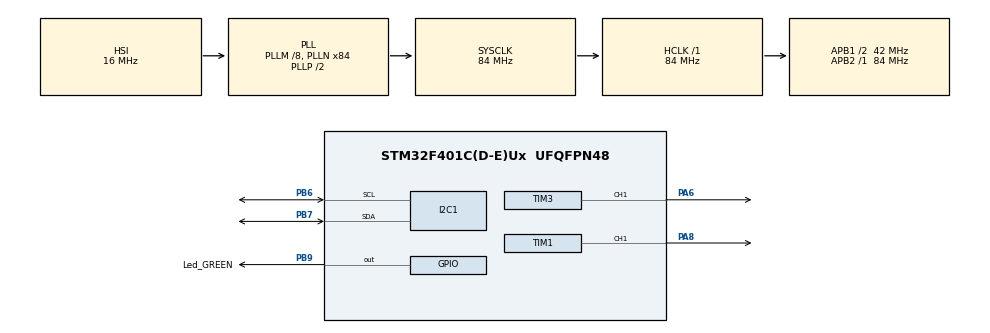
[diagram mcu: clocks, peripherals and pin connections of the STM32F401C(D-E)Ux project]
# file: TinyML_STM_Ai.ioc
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I2C1.I2C_Mode=I2C_Fast
Mcu.Family=STM32F4
Mcu.Name=STM32F401C(D-E)Ux
Mcu.Package=UFQFPN48
NVIC.PriorityGroup=NVIC_PRIORITYGROUP_4
NVIC.TIM1_BRK_TIM9_IRQn=true\:0\:0\:false\:false\:true\:true\:true\:true
NVIC.TIM1_CC_IRQn=true\:0\:0\:false\:false\:true\:true\:true\:true
NVIC.TIM1_TRG_COM_TIM11_IRQn=true\:0\:0\:false\:false\:true\:true\:true\:true
NVIC.TIM1_UP_TIM10_IRQn=true\:0\:0\:false\:false\:true\:true\:true\:true
PA13.Mode=Serial_Wire
PA13.Signal=SYS_JTMS-SWDIO
PA14.Mode=Serial_Wire
PA14.Signal=SYS_JTCK-SWCLK
PA6.GPIO_ModeDefaultPP=GPIO_MODE_AF_PP
PA6.GPIO_PuPd=GPIO_NOPULL
PA6.Signal=S_TIM3_CH1
PA8.Signal=S_TIM1_CH1
PB6.Mode=I2C
PB6.Signal=I2C1_SCL
PB7.Mode=I2C
PB7.Signal=I2C1_SDA
PB9.GPIO_Label=Led_GREEN
PB9.GPIO_ModeDefaultOutputPP=GPIO_MODE_OUTPUT_PP
PB9.Signal=GPIO_Output
PH0\ -\ OSC_IN.Mode=HSE-External-Oscillator
PH0\ -\ OSC_IN.Signal=RCC_OSC_IN
PH1\ -\ OSC_OUT.Mode=HSE-External-Oscillator
PH1\ -\ OSC_OUT.Signal=RCC_OSC_OUT
ProjectManager.HeapSize=0x800
ProjectManager.StackSize=0x800
ProjectManager.TargetToolchain=STM32CubeIDE
RCC.48MHZClocksFreq_Value=42000000
RCC.AHBFreq_Value=84000000
RCC.APB1CLKDivider=RCC_HCLK_DIV2
RCC.APB1Freq_Value=42000000
RCC.APB1TimFreq_Value=84000000
RCC.APB2Freq_Value=84000000
RCC.APB2TimFreq_Value=84000000
RCC.CortexFreq_Value=84000000
RCC.HCLKFreq_Value=84000000
RCC.HSE_VALUE=25000000
RCC.HSI_VALUE=16000000
RCC.LSE_VALUE=32768
RCC.PLLM=8
RCC.PLLN=84
RCC.SYSCLKFreq_VALUE=84000000
RCC.SYSCLKSource=RCC_SYSCLKSOURCE_PLLCLK
RCC.VCOOutputFreq_Value=168000000
SH.S_TIM1_CH1.0=TIM1_CH1,PWM Generation1 CH1
SH.S_TIM3_CH1.0=TIM3_CH1,PWM Generation1 CH1
STMicroelectronics.X-CUBE-AI.10.2.0.ActivationBufferSizeList=2264
STMicroelectronics.X-CUBE-AI.10.2.0.ActivationBuffers=pool0
STMicroelectronics.X-CUBE-AI.10.2.0.ActivationNames=pool0
STMicroelectronics.X-CUBE-AI.10.2.0.ActivationSizes=AI_SINE_MODEL_OWN_DATA_ACTIVATION_1_SIZE
STMicroelectronics.X-CUBE-AI.10.2.0.HeapSize=0x800
STMicroelectronics.X-CUBE-AI.10.2.0.InternalRamActivationBufferMaxSize=AI_SINE_MODEL_OWN_DATA_ACTIVATIONS_SIZE
STMicroelectronics.X-CUBE-AI.10.2.0.LatestDirectoryUsed-19e0198becab38a640acdebe623655421296ad438e8c394f98320da885acce7a=C\:\\Users\\21syl\\Downloads
STMicroelectronics.X-CUBE-AI.10.2.0.MaximumNumberOfInputLayer=1
STMicroelectronics.X-CUBE-AI.10.2.0.MaximumNumberOfOutputLayer=1
STMicroelectronics.X-CUBE-AI.10.2.0.MaximumSizeOfInputLayer=1
STMicroelectronics.X-CUBE-AI.10.2.0.MaximumSizeOfOutputLayer=1
STMicroelectronics.X-CUBE-AI.10.2.0.ModelActualCompression-19e0198becab38a640acdebe623655421296ad438e8c394f98320da885acce7a=0.0
STMicroelectronics.X-CUBE-AI.10.2.0.ModelCompression-19e0198becab38a640acdebe623655421296ad438e8c394f98320da885acce7a=None
STMicroelectronics.X-CUBE-AI.10.2.0.ModelFlashOccupation-19e0198becab38a640acdebe623655421296ad438e8c394f98320da885acce7a=21853
STMicroelectronics.X-CUBE-AI.10.2.0.ModelHashList=19e0198becab38a640acdebe623655421296ad438e8c394f98320da885acce7a
STMicroelectronics.X-CUBE-AI.10.2.0.ModelKind-19e0198becab38a640acdebe623655421296ad438e8c394f98320da885acce7a=TFLITE
STMicroelectronics.X-CUBE-AI.10.2.0.ModelMacc-19e0198becab38a640acdebe623655421296ad438e8c394f98320da885acce7a=325
STMicroelectronics.X-CUBE-AI.10.2.0.ModelName-19e0198becab38a640acdebe623655421296ad438e8c394f98320da885acce7a=sine_model_own
STMicroelectronics.X-CUBE-AI.10.2.0.ModelNameList=sine_model_own
STMicroelectronics.X-CUBE-AI.10.2.0.ModelRamOccupation-19e0198becab38a640acdebe623655421296ad438e8c394f98320da885acce7a=2264
STMicroelectronics.X-CUBE-AI.10.2.0.ModelStructureFile-19e0198becab38a640acdebe623655421296ad438e8c394f98320da885acce7a=C\:\\Users\\21syl\\Downloads\\sine_model_quantized (1).tflite
STMicroelectronics.X-CUBE-AI.10.2.0.ModelType-19e0198becab38a640acdebe623655421296ad438e8c394f98320da885acce7a=STM32Cube.AI MCU runtime
STMicroelectronics.X-CUBE-AI.10.2.0.ReadyForCodeGeneration=true
STMicroelectronics.X-CUBE-AI.10.2.0.StackSize=0x800
STMicroelectronics.X-CUBE-AI.10.2.0.WorkingBufferStartAddrList=0xFFFFFFFF
STMicroelectronics.X-CUBE-AI.10.2.0.XAaCUBEAaAICcArtificialOoIntelligenceJjCore=true
STMicroelectronics.X-CUBE-AI.10.2.0.copyWeightToRam-19e0198becab38a640acdebe623655421296ad438e8c394f98320da885acce7a=false
STMicroelectronics.X-CUBE-AI.10.2.0.customLayerConfigEnabled-19e0198becab38a640acdebe623655421296ad438e8c394f98320da885acce7a=false
STMicroelectronics.X-CUBE-AI.10.2.0.noOnnxIoTranspose-19e0198becab38a640acdebe623655421296ad438e8c394f98320da885acce7a=false
STMicroelectronics.X-CUBE-AI.10.2.0.useInputAllocation-19e0198becab38a640acdebe623655421296ad438e8c394f98320da885acce7a=true
STMicroelectronics.X-CUBE-AI.10.2.0.useOutputAllocation-19e0198becab38a640acdebe623655421296ad438e8c394f98320da885acce7a=true
TIM1.AutoReloadPreload=TIM_AUTORELOAD_PRELOAD_ENABLE
TIM1.Channel-PWM\ Generation1\ CH1=TIM_CHANNEL_1
TIM1.OCMode_PWM-PWM\ Generation1\ CH1=TIM_OCMODE_PWM2
TIM1.Period=33601
TIM1.Prescaler=49
TIM11.AutoReloadPreload=TIM_AUTORELOAD_PRELOAD_ENABLE
TIM11.Period=0xffff-1
TIM11.Prescaler=83
TIM3.AutoReloadPreload=TIM_AUTORELOAD_PRELOAD_ENABLE
TIM3.Channel-PWM\ Generation1\ CH1=TIM_CHANNEL_1
TIM3.OCMode_PWM-PWM\ Generation1\ CH1=TIM_OCMODE_PWM2
TIM3.Period=999
TIM3.Prescaler=83
VP_CRC_VS_CRC.Mode=CRC_Activate
VP_STMicroelectronics.X-CUBE-AI_VS_ArtificialOoIntelligenceJjXAaCUBEAaAI_10.2.0.Mode=ArtificialOoIntelligenceJjXAaCUBEAaAI
VP_TIM11_VS_ClockSourceINT.Mode=Enable_Timer
VP_TIM1_VS_ClockSourceINT.Mode=Internal
VP_TIM3_VS_ClockSourceINT.Mode=Internal
board=custom

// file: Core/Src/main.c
/* USER CODE BEGIN Header */
/**
  ******************************************************************************
  * @file           : main.c
  * @brief          : Main program body
  ******************************************************************************
  * @attention
  *
  * Copyright (c) 2025 STMicroelectronics.
  * All rights reserved.
  *
  * This software is licensed under terms that can be found in the LICENSE file
  * in the root directory of this software component.
  * If no LICENSE file comes with this software, it is provided AS-IS.
  *
  ******************************************************************************
  */
/* USER CODE END Header */
#include "main.h"

CRC_HandleTypeDef hcrc;

I2C_HandleTypeDef hi2c1;

TIM_HandleTypeDef htim1;
TIM_HandleTypeDef htim3;
TIM_HandleTypeDef htim11;

/* USER CODE BEGIN PV */
// --- Stepper 28BYJ-48 on ULN2003 ---
#define STP_IN1_GPIO_Port   GPIOB
#define STP_IN1_Pin         GPIO_PIN_0
#define STP_IN2_GPIO_Port   GPIOB
#define STP_IN2_Pin         GPIO_PIN_1
#define STP_IN3_GPIO_Port   GPIOB
#define STP_IN3_Pin         GPIO_PIN_2
#define STP_IN4_GPIO_Port   GPIOB
#define STP_IN4_Pin         GPIO_PIN_10

// Konfiguracja: half-step (8 stanów)
static const uint8_t stp_seq[8][4] = {
  {1,0,0,0},
  {1,1,0,0},
  {0,1,0,0},
  {0,1,1,0},
  {0,0,1,0},
  {0,0,1,1},
  {0,0,0,1},
  {1,0,0,1}
};

static volatile int      stp_idx = 0;
static volatile int      stp_dir = 0;          // -1, 0, +1
static volatile uint32_t stp_ticks = 0;        // odległość (w taktach timera) do następnego kroku
static const float       STP_FMAX_HZ = 500.0f; // max pół-kroków/s (bezpieczne dla 28BYJ-48)
static const float       STP_FMIN_HZ = 2.0f;   // próg „ruszenia”, żeby uniknąć zbyt wolnych kliknięć

/* USER CODE END PV */

void SystemClock_Config(void);
static void MX_GPIO_Init(void);
static void MX_CRC_Init(void);
static void MX_I2C1_Init(void);
static void MX_TIM1_Init(void);
static void MX_TIM11_Init(void);
static void MX_TIM3_Init(void);

int main(void)
{

  /* MCU Configuration--------------------------------------------------------*/

  /* Reset of all peripherals, Initializes the Flash interface and the Systick. */
  HAL_Init();

  /* Configure the system clock */
  SystemClock_Config();

  /* Initialize all configured peripherals */
  MX_GPIO_Init();
  MX_CRC_Init();
  MX_I2C1_Init();
  MX_TIM1_Init();
  MX_TIM11_Init();
  MX_TIM3_Init();

  /* Infinite loop */
  while (1)
  {

  }
}

void SystemClock_Config(void)
{
  RCC_OscInitTypeDef RCC_OscInitStruct = {0};
  RCC_ClkInitTypeDef RCC_ClkInitStruct = {0};

  /** Configure the main internal regulator output voltage
  */
  __HAL_RCC_PWR_CLK_ENABLE();
  __HAL_PWR_VOLTAGESCALING_CONFIG(PWR_REGULATOR_VOLTAGE_SCALE2);

  /** Initializes the RCC Oscillators according to the specified parameters
  * in the RCC_OscInitTypeDef structure.
  */
  RCC_OscInitStruct.OscillatorType = RCC_OSCILLATORTYPE_HSI;
  RCC_OscInitStruct.HSIState = RCC_HSI_ON;
  RCC_OscInitStruct.HSICalibrationValue = RCC_HSICALIBRATION_DEFAULT;
  RCC_OscInitStruct.PLL.PLLState = RCC_PLL_ON;
  RCC_OscInitStruct.PLL.PLLSource = RCC_PLLSOURCE_HSI;
  RCC_OscInitStruct.PLL.PLLM = 8;
  RCC_OscInitStruct.PLL.PLLN = 84;
  RCC_OscInitStruct.PLL.PLLP = RCC_PLLP_DIV2;
  RCC_OscInitStruct.PLL.PLLQ = 4;
  if (HAL_RCC_OscConfig(&RCC_OscInitStruct) != HAL_OK)
  {
    Error_Handler();
  }

  /** Initializes the CPU, AHB and APB buses clocks
  */
  RCC_ClkInitStruct.ClockType = RCC_CLOCKTYPE_HCLK|RCC_CLOCKTYPE_SYSCLK
                              |RCC_CLOCKTYPE_PCLK1|RCC_CLOCKTYPE_PCLK2;
  RCC_ClkInitStruct.SYSCLKSource = RCC_SYSCLKSOURCE_PLLCLK;
  RCC_ClkInitStruct.AHBCLKDivider = RCC_SYSCLK_DIV1;
  RCC_ClkInitStruct.APB1CLKDivider = RCC_HCLK_DIV2;
  RCC_ClkInitStruct.APB2CLKDivider = RCC_HCLK_DIV1;

  if (HAL_RCC_ClockConfig(&RCC_ClkInitStruct, FLASH_LATENCY_2) != HAL_OK)
  {
    Error_Handler();
  }
}

static void MX_CRC_Init(void)
{

  hcrc.Instance = CRC;
  if (HAL_CRC_Init(&hcrc) != HAL_OK)
  {
    Error_Handler();
  }

}

static void MX_I2C1_Init(void)
{

  hi2c1.Instance = I2C1;
  hi2c1.Init.ClockSpeed = 400000;
  hi2c1.Init.DutyCycle = I2C_DUTYCYCLE_2;
  hi2c1.Init.OwnAddress1 = 0;
  hi2c1.Init.AddressingMode = I2C_ADDRESSINGMODE_7BIT;
  hi2c1.Init.DualAddressMode = I2C_DUALADDRESS_DISABLE;
  hi2c1.Init.OwnAddress2 = 0;
  hi2c1.Init.GeneralCallMode = I2C_GENERALCALL_DISABLE;
  hi2c1.Init.NoStretchMode = I2C_NOSTRETCH_DISABLE;
  if (HAL_I2C_Init(&hi2c1) != HAL_OK)
  {
    Error_Handler();
  }

}

static void MX_TIM1_Init(void)
{

  TIM_ClockConfigTypeDef sClockSourceConfig = {0};
  TIM_MasterConfigTypeDef sMasterConfig = {0};
  TIM_OC_InitTypeDef sConfigOC = {0};
  TIM_BreakDeadTimeConfigTypeDef sBreakDeadTimeConfig = {0};

  htim1.Instance = TIM1;
  htim1.Init.Prescaler = 49;
  htim1.Init.CounterMode = TIM_COUNTERMODE_UP;
  htim1.Init.Period = 33601;
  htim1.Init.ClockDivision = TIM_CLOCKDIVISION_DIV1;
  htim1.Init.RepetitionCounter = 0;
  htim1.Init.AutoReloadPreload = TIM_AUTORELOAD_PRELOAD_ENABLE;
  if (HAL_TIM_Base_Init(&htim1) != HAL_OK)
  {
    Error_Handler();
  }
  sClockSourceConfig.ClockSource = TIM_CLOCKSOURCE_INTERNAL;
  if (HAL_TIM_ConfigClockSource(&htim1, &sClockSourceConfig) != HAL_OK)
  {
    Error_Handler();
  }
  if (HAL_TIM_PWM_Init(&htim1) != HAL_OK)
  {
    Error_Handler();
  }
  sMasterConfig.MasterOutputTrigger = TIM_TRGO_RESET;
  sMasterConfig.MasterSlaveMode = TIM_MASTERSLAVEMODE_DISABLE;
  if (HAL_TIMEx_MasterConfigSynchronization(&htim1, &sMasterConfig) != HAL_OK)
  {
    Error_Handler();
  }
  sConfigOC.OCMode = TIM_OCMODE_TIMING;
  sConfigOC.Pulse = 1000;
  sConfigOC.OCPolarity = TIM_OCPOLARITY_HIGH;
  sConfigOC.OCNPolarity = TIM_OCNPOLARITY_HIGH;
  sConfigOC.OCFastMode = TIM_OCFAST_DISABLE;
  sConfigOC.OCIdleState = TIM_OCIDLESTATE_RESET;
  sConfigOC.OCNIdleState = TIM_OCNIDLESTATE_RESET;
  if (HAL_TIM_PWM_ConfigChannel(&htim1, &sConfigOC, TIM_CHANNEL_1) != HAL_OK)
  {
    Error_Handler();
  }
  sBreakDeadTimeConfig.OffStateRunMode = TIM_OSSR_DISABLE;
  sBreakDeadTimeConfig.OffStateIDLEMode = TIM_OSSI_DISABLE;
  sBreakDeadTimeConfig.LockLevel = TIM_LOCKLEVEL_OFF;
  sBreakDeadTimeConfig.DeadTime = 0;
  sBreakDeadTimeConfig.BreakState = TIM_BREAK_DISABLE;
  sBreakDeadTimeConfig.BreakPolarity = TIM_BREAKPOLARITY_HIGH;
  sBreakDeadTimeConfig.AutomaticOutput = TIM_AUTOMATICOUTPUT_DISABLE;
  if (HAL_TIMEx_ConfigBreakDeadTime(&htim1, &sBreakDeadTimeConfig) != HAL_OK)
  {
    Error_Handler();
  }
  HAL_TIM_MspPostInit(&htim1);

}

static void MX_TIM3_Init(void)
{

  TIM_ClockConfigTypeDef sClockSourceConfig = {0};
  TIM_MasterConfigTypeDef sMasterConfig = {0};
  TIM_OC_InitTypeDef sConfigOC = {0};

  htim3.Instance = TIM3;
  htim3.Init.Prescaler = 83;
  htim3.Init.CounterMode = TIM_COUNTERMODE_UP;
  htim3.Init.Period = 999;
  htim3.Init.ClockDivision = TIM_CLOCKDIVISION_DIV1;
  htim3.Init.AutoReloadPreload = TIM_AUTORELOAD_PRELOAD_ENABLE;
  if (HAL_TIM_Base_Init(&htim3) != HAL_OK)
  {
    Error_Handler();
  }
  sClockSourceConfig.ClockSource = TIM_CLOCKSOURCE_INTERNAL;
  if (HAL_TIM_ConfigClockSource(&htim3, &sClockSourceConfig) != HAL_OK)
  {
    Error_Handler();
  }
  if (HAL_TIM_PWM_Init(&htim3) != HAL_OK)
  {
    Error_Handler();
  }
  sMasterConfig.MasterOutputTrigger = TIM_TRGO_RESET;
  sMasterConfig.MasterSlaveMode = TIM_MASTERSLAVEMODE_DISABLE;
  if (HAL_TIMEx_MasterConfigSynchronization(&htim3, &sMasterConfig) != HAL_OK)
  {
    Error_Handler();
  }
  sConfigOC.OCMode = TIM_OCMODE_PWM2;
  sConfigOC.Pulse = 0;
  sConfigOC.OCPolarity = TIM_OCPOLARITY_HIGH;
  sConfigOC.OCFastMode = TIM_OCFAST_DISABLE;
  if (HAL_TIM_PWM_ConfigChannel(&htim3, &sConfigOC, TIM_CHANNEL_1) != HAL_OK)
  {
    Error_Handler();
  }
  HAL_TIM_MspPostInit(&htim3);

}

static void MX_TIM11_Init(void)
{

  htim11.Instance = TIM11;
  htim11.Init.Prescaler = 83;
  htim11.Init.CounterMode = TIM_COUNTERMODE_UP;
  htim11.Init.Period = 0xffff-1;
  htim11.Init.ClockDivision = TIM_CLOCKDIVISION_DIV1;
  htim11.Init.AutoReloadPreload = TIM_AUTORELOAD_PRELOAD_ENABLE;
  if (HAL_TIM_Base_Init(&htim11) != HAL_OK)
  {
    Error_Handler();
  }

}

static void MX_GPIO_Init(void)
{
  GPIO_InitTypeDef GPIO_InitStruct = {0};

  /* GPIO Ports Clock Enable */
  __HAL_RCC_GPIOH_CLK_ENABLE();
  __HAL_RCC_GPIOA_CLK_ENABLE();
  __HAL_RCC_GPIOB_CLK_ENABLE();

  /*Configure GPIO pin Output Level */
  HAL_GPIO_WritePin(Led_GREEN_GPIO_Port, Led_GREEN_Pin, GPIO_PIN_RESET);

  /*Configure GPIO pin : Led_GREEN_Pin */
  GPIO_InitStruct.Pin = Led_GREEN_Pin;
  GPIO_InitStruct.Mode = GPIO_MODE_OUTPUT_PP;
  GPIO_InitStruct.Pull = GPIO_NOPULL;
  GPIO_InitStruct.Speed = GPIO_SPEED_FREQ_LOW;
  HAL_GPIO_Init(Led_GREEN_GPIO_Port, &GPIO_InitStruct);

  /* USER CODE BEGIN MX_GPIO_Init_2 */
  GPIO_InitTypeDef GPIO_InitStruct = {0};
  //__HAL_RCC_GPIOB_CLK_ENABLE();

  GPIO_InitStruct.Mode  = GPIO_MODE_OUTPUT_PP;
  GPIO_InitStruct.Pull  = GPIO_NOPULL;
  GPIO_InitStruct.Speed = GPIO_SPEED_FREQ_LOW;

  GPIO_InitStruct.Pin = STP_IN1_Pin; HAL_GPIO_Init(STP_IN1_GPIO_Port, &GPIO_InitStruct);
  GPIO_InitStruct.Pin = STP_IN2_Pin; HAL_GPIO_Init(STP_IN2_GPIO_Port, &GPIO_InitStruct);
  GPIO_InitStruct.Pin = STP_IN3_Pin; HAL_GPIO_Init(STP_IN3_GPIO_Port, &GPIO_InitStruct);
  GPIO_InitStruct.Pin = STP_IN4_Pin; HAL_GPIO_Init(STP_IN4_GPIO_Port, &GPIO_InitStruct);

  HAL_GPIO_WritePin(STP_IN1_GPIO_Port, STP_IN1_Pin, GPIO_PIN_RESET);
  HAL_GPIO_WritePin(STP_IN2_GPIO_Port, STP_IN2_Pin, GPIO_PIN_RESET);
  HAL_GPIO_WritePin(STP_IN3_GPIO_Port, STP_IN3_Pin, GPIO_PIN_RESET);
  HAL_GPIO_WritePin(STP_IN4_GPIO_Port, STP_IN4_Pin, GPIO_PIN_RESET);

  /* USER CODE END MX_GPIO_Init_2 */
}

void Error_Handler(void)
{
  __disable_irq();
  while (1)
  {
  }
}
